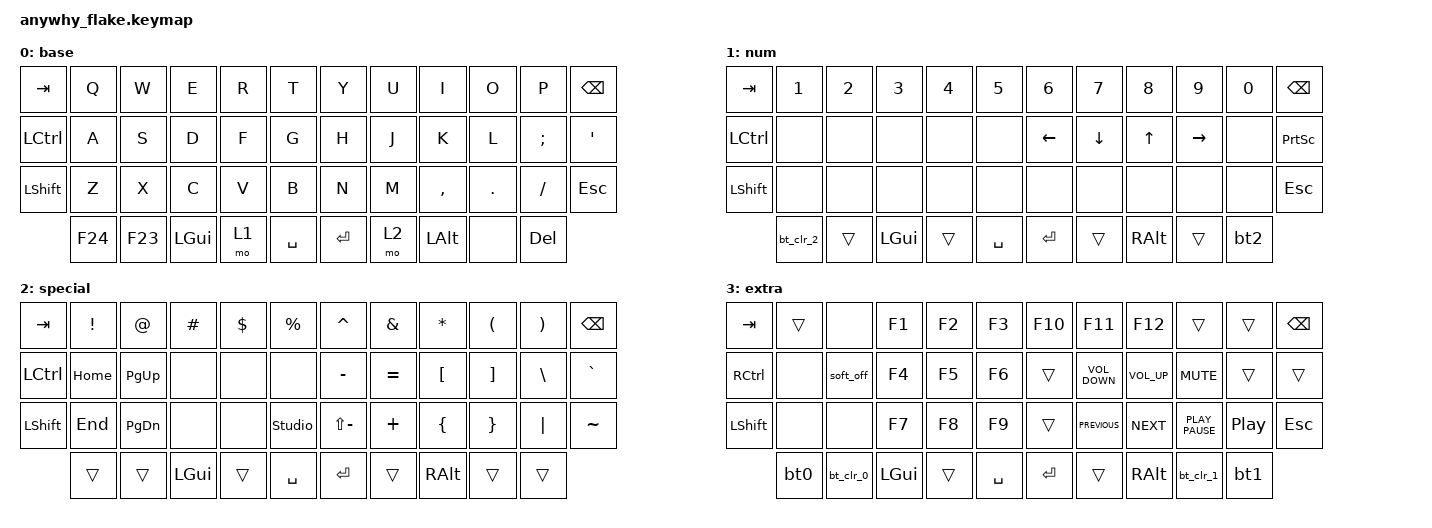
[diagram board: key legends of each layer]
#include <behaviors.dtsi>
#include <dt-bindings/zmk/bt.h>
#include <dt-bindings/zmk/keys.h>

/ {
    macros {
        bt_clr_0: bt_clr_0 {
            compatible = "zmk,behavior-macro";
            #binding-cells = <0>;
            bindings = <&bt BT_SEL 0 &bt BT_CLR>;
            label = "BT_CLR_0";
        };

        bt_clr_1: bt_clr_1 {
            compatible = "zmk,behavior-macro";
            #binding-cells = <0>;
            bindings = <&bt BT_SEL 1 &bt BT_CLR>;
            label = "BT_CLR_1";
        };

        bt_clr_2: bt_clr_2 {
            compatible = "zmk,behavior-macro";
            #binding-cells = <0>;
            bindings = <&bt BT_SEL 2 &bt BT_CLR>;
            label = "BT_CLR_2";
        };

        bt_clr_3: bt_clr_3 {
            compatible = "zmk,behavior-macro";
            #binding-cells = <0>;
            bindings = <&bt BT_SEL 3 &bt BT_CLR>;
            label = "BT_CLR_3";
        };

        bt_clr_4: bt_clr_4 {
            compatible = "zmk,behavior-macro";
            #binding-cells = <0>;
            bindings = <&bt BT_SEL 4 &bt BT_CLR>;
            label = "BT_CLR_4";
        };
    };

    behaviors {
        bt0: bt0 {
            compatible = "zmk,behavior-mod-morph";
            label = "BT0";
            bindings = <&bt BT_SEL 0>, <&bt_clr_0>;

            #binding-cells = <0>;
            mods = <(MOD_LSFT|MOD_RSFT)>;
        };

        bt1: bt1 {
            compatible = "zmk,behavior-mod-morph";
            label = "BT1";
            bindings = <&bt BT_SEL 1>, <&bt_clr_1>;

            #binding-cells = <0>;
            mods = <(MOD_LSFT|MOD_RSFT)>;
        };

        bt2: bt2 {
            compatible = "zmk,behavior-mod-morph";
            label = "BT2";
            bindings = <&bt BT_SEL 2>, <&bt_clr_2>;

            #binding-cells = <0>;
            mods = <(MOD_LSFT|MOD_RSFT)>;
        };

        bt3: bt3 {
            compatible = "zmk,behavior-mod-morph";
            label = "BT3";
            bindings = <&bt BT_SEL 3>, <&bt_clr_3>;

            #binding-cells = <0>;
            mods = <(MOD_LSFT|MOD_RSFT)>;
        };

        bt4: bt4 {
            compatible = "zmk,behavior-mod-morph";
            label = "BT4";
            bindings = <&bt BT_SEL 4>, <&bt_clr_4>;

            #binding-cells = <0>;
            mods = <(MOD_LSFT|MOD_RSFT)>;
        };
    };

    keymap {
        compatible = "zmk,keymap";

        base {
            bindings = <
&kp TAB           &kp Q    &kp W    &kp E         &kp R  &kp T        &kp Y      &kp U  &kp I         &kp O    &kp P       &kp BSPC
&kp LEFT_CONTROL  &kp A    &kp S    &kp D         &kp F  &kp G        &kp H      &kp J  &kp K         &kp L    &kp SEMI    &kp APOS
&kp LEFT_SHIFT    &kp Z    &kp X    &kp C         &kp V  &kp B        &kp N      &kp M  &kp COMMA     &kp DOT  &kp FSLH    &kp ESCAPE
                  &kp F24  &kp F23  &kp LEFT_GUI  &mo 1  &kp SPACE    &kp ENTER  &mo 2  &kp LEFT_ALT  &none    &kp DELETE
            >;
        };

        num {
            bindings = <
&kp TAB         &kp N1     &kp N2  &kp N3    &kp N4  &kp N5       &kp N6    &kp N7    &kp N8    &kp N9     &kp N0  &kp BSPC
&kp LCTRL       &none      &none   &none     &none   &none        &kp LEFT  &kp DOWN  &kp UP    &kp RIGHT  &none   &kp PRINTSCREEN
&kp LEFT_SHIFT  &none      &none   &none     &none   &none        &none     &none     &none     &none      &none   &kp ESCAPE
                &bt_clr_2  &trans  &kp LGUI  &trans  &kp SPACE    &kp RET   &trans    &kp RALT  &trans     &bt2
            >;
        };

        special {
            bindings = <
&kp TAB         &kp EXCL  &kp AT_SIGN    &kp HASH  &kp DOLLAR  &kp PERCENT       &kp CARET      &kp AMPERSAND  &kp ASTERISK    &kp LEFT_PARENTHESIS  &kp RIGHT_PARENTHESIS  &kp BSPC
&kp LCTRL       &kp HOME  &kp PAGE_UP    &none     &none       &none             &kp MINUS      &kp EQUAL      &kp LBKT        &kp RBKT              &kp BSLH               &kp GRAVE
&kp LEFT_SHIFT  &kp END   &kp PAGE_DOWN  &none     &none       &studio_unlock    &kp LS(MINUS)  &kp PLUS       &kp LEFT_BRACE  &kp RIGHT_BRACE       &kp PIPE               &kp TILDE
                &trans    &trans         &kp LGUI  &trans      &kp SPACE         &kp RET        &trans         &kp RALT        &trans                &trans
            >;
        };

        extra {
            bindings = <
&kp TAB    &trans  &none      &kp F1    &kp F2  &kp F3       &kp F10  &kp F11            &kp F12          &trans            &trans            &kp BSPC
&kp RCTRL  &none   &soft_off  &kp F4    &kp F5  &kp F6       &trans   &kp C_VOLUME_DOWN  &kp C_VOLUME_UP  &kp K_MUTE        &trans            &trans
&kp LSHFT  &none   &none      &kp F7    &kp F8  &kp F9       &trans   &kp K_PREVIOUS     &kp K_NEXT       &kp K_PLAY_PAUSE  &kp C_PLAY_PAUSE  &kp ESC
           &bt0    &bt_clr_0  &kp LGUI  &trans  &kp SPACE    &kp RET  &trans             &kp RIGHT_ALT    &bt_clr_1         &bt1
            >;
        };
    };

    conditional_layers {
        compatible = "zmk,conditional-layers";

        tri_layer {
            if-layers = <1 2>;
            then-layer = <3>;
        };
    };
};
